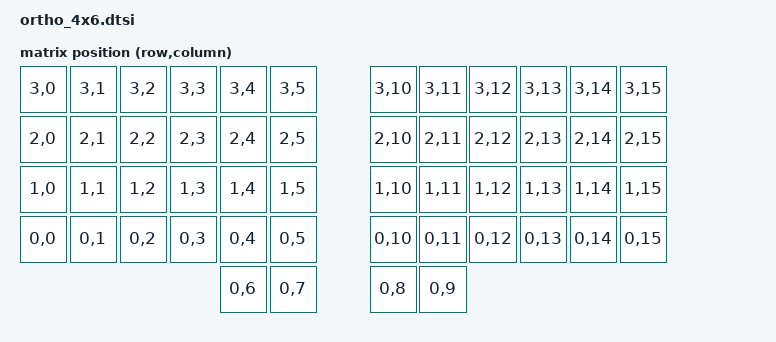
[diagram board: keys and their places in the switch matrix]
/*
 * Ortho 4x6 — Shared shield definition
 *
 * Physical layout per half:
 *   4 rows × 6 main columns = 24 keys
 *   2 thumb keys per half wired into the bottom row (row 0) via
 *   dedicated thumb columns (cols 6-7 left, cols 14-15 right)
 *   Total: 26 keys per half, 52 keys combined
 *
 * Wiring: row2col
 *   Diode anode → row wire, cathode (banded end) → column wire
 *   Row pins are driven outputs; column pins are sensed inputs.
 *
 * Matrix logical addressing:
 *   Cols  0-5   = left main  (pinky → index)
 *   Cols  6-7   = left thumb
 *   Cols  8-13  = right main (index → pinky, reversed for symmetry)
 *   Cols  14-15 = right thumb
 *   Rows  0-3   = bottom → top
 *
 * Keymap position order:
 *   Row 3:  L0  L1  L2  L3  L4  L5  |  R0  R1  R2  R3  R4  R5   pos  0-11
 *   Row 2:  L0  L1  L2  L3  L4  L5  |  R0  R1  R2  R3  R4  R5   pos 12-23
 *   Row 1:  L0  L1  L2  L3  L4  L5  |  R0  R1  R2  R3  R4  R5   pos 24-35
 *   Row 0:  L0  L1  L2  L3  L4  L5  |  R0  R1  R2  R3  R4  R5   pos 36-47
 *   Thumb:              LT0 LT1     |  RT0 RT1                   pos 48-51
 *   Total: 52 keys
 */

#include <dt-bindings/zmk/matrix_transform.h>

/ {
    chosen {
        zmk,kscan = &kscan0;
        zmk,matrix_transform = &default_transform;
    };

    default_transform: keymap_transform_0 {
        compatible = "zmk,matrix-transform";
        columns = <16>;
        rows = <4>;

        map = <
/* Row 3 — top row */
RC(3,0)  RC(3,1)  RC(3,2)  RC(3,3)  RC(3,4)  RC(3,5)    RC(3,10) RC(3,11) RC(3,12) RC(3,13) RC(3,14) RC(3,15) 
/* Row 2 */
RC(2,0)  RC(2,1)  RC(2,2)  RC(2,3)  RC(2,4)  RC(2,5)    RC(2,10) RC(2,11) RC(2,12) RC(2,13) RC(2,14) RC(2,15) 
/* Row 1 */
RC(1,0)  RC(1,1)  RC(1,2)  RC(1,3)  RC(1,4)  RC(1,5)    RC(1,10) RC(1,11) RC(1,12) RC(1,13) RC(1,14) RC(1,15) 
/* Row 0 — bottom row, main keys */
RC(0,0)  RC(0,1)  RC(0,2)  RC(0,3)  RC(0,4)  RC(0,5)    RC(0,10) RC(0,11) RC(0,12) RC(0,13) RC(0,14) RC(0,15) 
/* Row 0 — bottom row, thumb columns */
                            RC(0,6)  RC(0,7)              RC(0,8) RC(0,9)
        >;
    };
};
